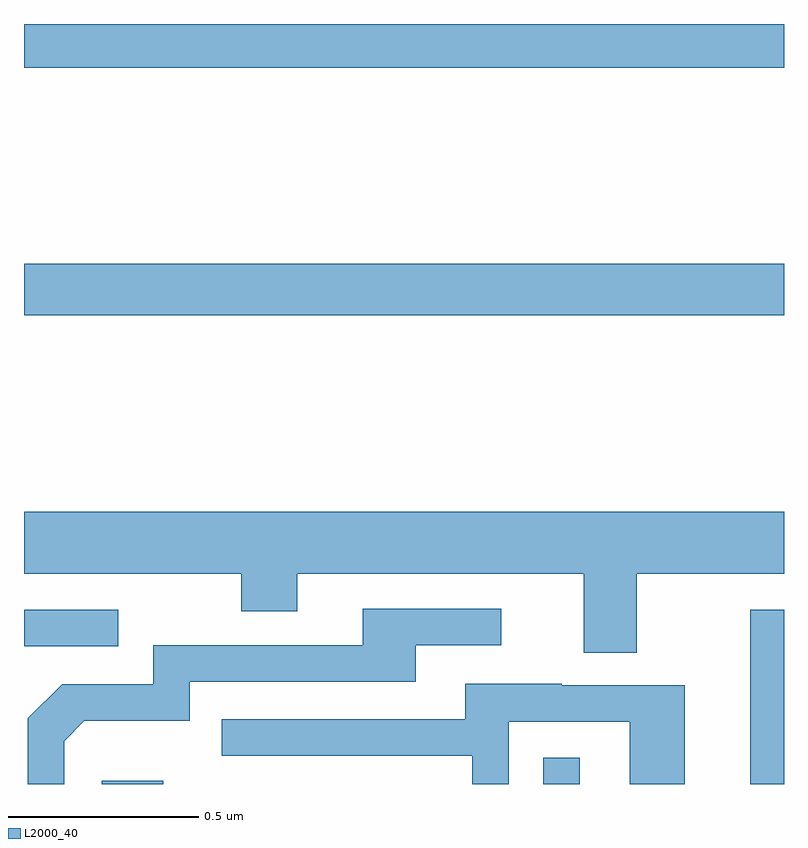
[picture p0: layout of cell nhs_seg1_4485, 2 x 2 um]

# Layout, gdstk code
import gdstk
lib = gdstk.Library(unit=1e-6, precision=1e-09)
def R(c, l, rs):  # rectangles x0, y0, x1, y1
    for r in rs: c.add(gdstk.rectangle(r[:2], r[2:], *l))
def P(c, l, *ps):  # polygons
    for p in ps: c.add(gdstk.Polygon(p, *l))
L2000_40 = (2000, 40)

nhs_seg1_4485 = lib.new_cell('nhs_seg1_4485')
R(nhs_seg1_4485, L2000_40, [(167.205,531.199,167.366,531.208), (168.366,531.199,168.463,531.268), (168.911,531.199,169,531.657), (167,531.561,167.248,531.657), (167,532.432,169,532.568), (167,533.084,169,533.199)])
P(nhs_seg1_4485, L2000_40, [(168.613,531.752),(169,531.752),(169,531.916),(167,531.916),(167,531.752),(167.572,531.752),(167.572,531.653),(167.719,531.653),(167.719,531.752),(168.473,531.752),(168.473,531.544),(168.613,531.544)],
  [(167.106,531.312),(167.159,531.365),(167.436,531.365),(167.436,531.468),(168.031,531.468),(168.031,531.564),(168.256,531.564),(168.256,531.66),(167.891,531.66),(167.891,531.564),(167.34,531.564),(167.34,531.462),(167.1,531.462),(167.01,531.372),(167.01,531.199),(167.106,531.199)],
  [(168.276,531.363),(168.594,531.363),(168.594,531.199),(168.739,531.199),(168.739,531.459),(168.415,531.459),(168.415,531.463),(168.161,531.463),(168.161,531.369),(167.521,531.369),(167.521,531.273),(168.18,531.273),(168.18,531.199),(168.276,531.199)])

lib.write_gds('nhs_seg1_4485.gds')
